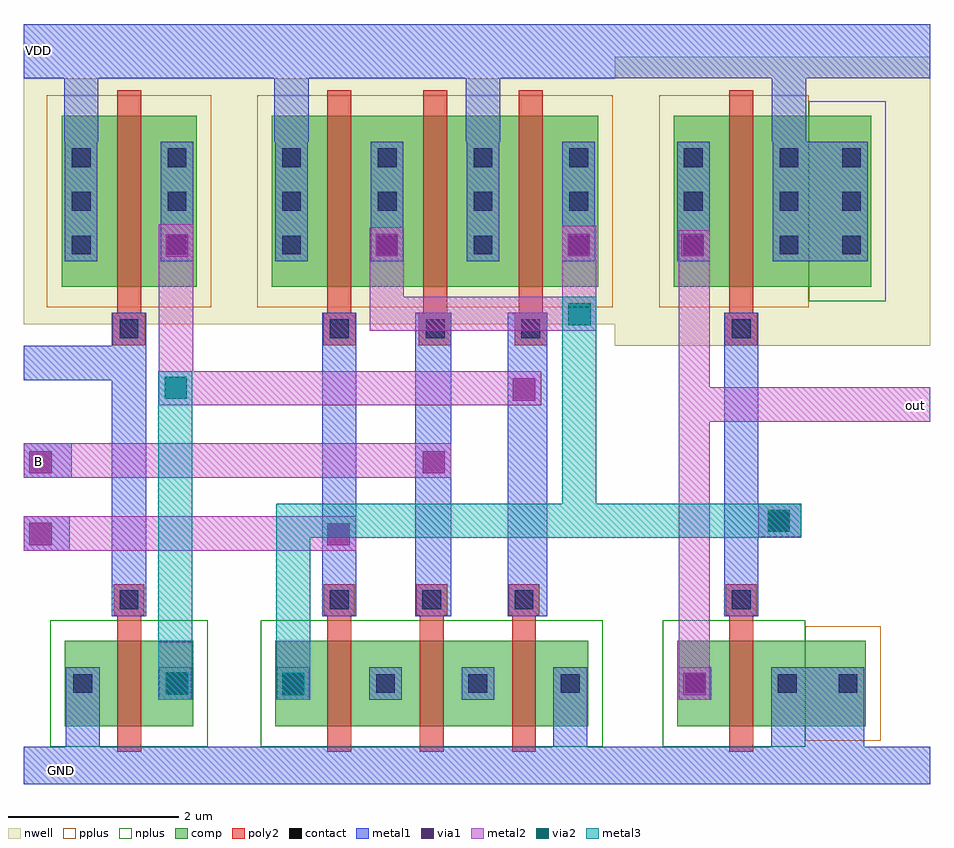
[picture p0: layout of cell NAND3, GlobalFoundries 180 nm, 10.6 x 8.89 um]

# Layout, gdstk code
import gdstk
lib = gdstk.Library(unit=1e-6, precision=5e-09)
def R(c, l, rs):  # rectangles x0, y0, x1, y1
    for r in rs: c.add(gdstk.rectangle(r[:2], r[2:], *l))
def A(c, l, x, y, w, h, nx, ny, dx, dy):  # array of equal rectangles
    R(c, l, [(x+i*dx, y+j*dy, x+i*dx+w, y+j*dy+h) for i in range(nx) for j in range(ny)])
nwell = (21, 0)
comp = (22, 0)
poly2 = (30, 0)
pplus = (31, 0)
nplus = (32, 0)
contact = (33, 0)
metal1 = (34, 0)
via1 = (35, 0)
metal2 = (36, 0)
via2 = (38, 0)
metal3 = (42, 0)

nfet = lib.new_cell('nfet')
R(nfet, comp, [(-0.42,0,0,1), (0,0,0.66,1), (0.66,0,1.08,1)])
R(nfet, poly2, [(0.19,-0.3,0.47,1.3), (0.15,1.3,0.51,1.66)])
R(nfet, nplus, [(-0.59,-0.24,1.25,1.24)])
R(nfet, contact, [(-0.32,0.39,-0.1,0.61), (0.76,0.39,0.98,0.61), (0.22,1.37,0.44,1.59)])
R(nfet, metal1, [(-0.4,0.31,-0.02,0.69), (0.68,0.31,1.06,0.69), (0.14,1.29,0.52,1.67)])

pfet_1 = lib.new_cell('pfet$1')
R(pfet_1, nwell, [(-0.9,-0.44,1.56,2.44)])
R(pfet_1, comp, [(-0.46,0,0,2), (0,0,0.66,2), (0.66,0,1.12,2)])
R(pfet_1, poly2, [(0.14,-0.68,0.52,-0.3), (0.19,-0.3,0.47,2.3)])
R(pfet_1, pplus, [(-0.63,-0.24,1.29,2.24)])
A(pfet_1, contact, -0.34, 0.38, 0.22, 0.22, 1, 3, 0, 0.51)
A(pfet_1, contact, 0.78, 0.38, 0.22, 0.22, 1, 3, 0, 0.51)
R(pfet_1, contact, [(0.22,-0.6,0.44,-0.38)])
R(pfet_1, metal1, [(0.14,-0.68,0.52,-0.3), (-0.42,0.3,-0.04,1.7), (0.7,0.3,1.08,1.7)])

pfet_2 = lib.new_cell('pfet$2')
R(pfet_2, nwell, [(-1.15,-0.69,2.54,2.69)])
R(pfet_2, comp, [(-0.46,0,0,2), (0,0,0.66,2), (0.66,0,1.12,2), (1.12,0,1.85,2)])
R(pfet_2, poly2, [(0.14,-0.68,0.52,-0.3), (0.19,-0.3,0.47,2.3)])
R(pfet_2, pplus, [(-0.63,-0.24,1.12,2.24)])
R(pfet_2, nplus, [(1.12,-0.17,2.02,2.17)])
A(pfet_2, contact, -0.34, 0.38, 0.22, 0.22, 1, 3, 0, 0.51)
A(pfet_2, contact, 0.78, 0.38, 0.22, 0.22, 1, 3, 0, 0.51)
A(pfet_2, contact, 1.51, 0.38, 0.22, 0.22, 1, 3, 0, 0.51)
R(pfet_2, contact, [(0.22,-0.6,0.44,-0.38)])
R(pfet_2, metal1, [(0.14,-0.68,0.52,-0.3), (-0.42,0.3,-0.04,1.7), (0.7,0.3,1.08,1.7), (1.43,0.3,1.81,1.7)])

nfet_2 = lib.new_cell('nfet$2')
R(nfet_2, comp, [(-0.42,0,0,1), (0,0,0.66,1), (0.66,0,1.08,1), (1.08,0,1.79,1)])
R(nfet_2, poly2, [(0.19,-0.3,0.47,1.3), (0.15,1.3,0.51,1.66)])
R(nfet_2, pplus, [(1.08,-0.17,1.96,1.17)])
R(nfet_2, nplus, [(-0.59,-0.24,1.08,1.24)])
R(nfet_2, contact, [(-0.32,0.39,-0.1,0.61), (0.76,0.39,0.98,0.61), (1.47,0.39,1.69,0.61), (0.22,1.37,0.44,1.59)])
R(nfet_2, metal1, [(-0.4,0.31,-0.02,0.69), (0.68,0.31,1.06,0.69), (1.39,0.31,1.77,0.69), (0.14,1.29,0.52,1.67)])

nand3 = lib.new_cell('NAND3')
R(nand3, metal1, [(-57.87,29.975,-57.56,30.41), (-57.56,29.975,-47.85,30.41), (-47.85,29.975,-47.27,30.41), (-49.13,30.215,-48.04,31.34), (-49.13,30.96,-48.04,31.34), (-53.29,31.94,-52.87,35.49), (-52.21,31.94,-51.75,35.49), (-49.11,36.09,-48,37.49), (-57.87,38.23,-47.27,38.865)])
R(nand3, via1, [(-54.85,31.015,-54.59,31.275), (-50.155,31.015,-49.895,31.275), (-56.21,31.02,-55.95,31.28), (-54.32,32.765,-54.06,33.025), (-57.805,32.77,-57.545,33.03), (-49.17,32.925,-48.91,33.185), (-57.805,33.61,-57.545,33.87), (-53.205,33.61,-52.945,33.87), (-52.15,34.46,-51.89,34.72), (-56.21,36.145,-55.95,36.405), (-53.755,36.15,-53.495,36.41), (-51.51,36.15,-51.25,36.41), (-50.18,36.15,-49.92,36.41)])
R(nand3, metal2, [(-50.21,30.96,-49.85,36.45), (-49.28,32.86,-48.78,33.255)])
R(nand3, via2, [(-54.85,31.015,-54.59,31.275), (-56.21,31.02,-55.95,31.28), (-49.17,32.925,-48.91,33.185), (-56.225,34.48,-55.965,34.74), (-51.5,35.34,-51.24,35.6)])
nand3.add(gdstk.FlexPath([(-56.64,31.94),(-56.64,35.49)], 0.4, ends="flush", simple_path=True, layer=34, datatype=0))  # metal1
nand3.add(gdstk.FlexPath([(-56.64,34.9),(-57.87,34.9)], 0.4, ends="flush", simple_path=True, layer=34, datatype=0))  # metal1
nand3.add(gdstk.FlexPath([(-57.2,37.49),(-57.2,38.23)], 0.4, ends="flush", simple_path=True, layer=34, datatype=0))  # metal1
nand3.add(gdstk.FlexPath([(-54.74,37.49),(-54.74,38.23)], 0.4, ends="flush", simple_path=True, layer=34, datatype=0))  # metal1
nand3.add(gdstk.FlexPath([(-52.5,37.49),(-52.5,38.23)], 0.4, ends="flush", simple_path=True, layer=34, datatype=0))  # metal1
nand3.add(gdstk.FlexPath([(-48.92,37.49),(-48.92,38.23)], 0.4, ends="flush", simple_path=True, layer=34, datatype=0))  # metal1
nand3.add(gdstk.FlexPath([(-54.18,35.49),(-54.18,31.94)], 0.4, ends="flush", simple_path=True, layer=34, datatype=0))  # metal1
nand3.add(gdstk.FlexPath([(-57.87,33.76),(-57.31,33.76)], 0.4, ends="flush", simple_path=True, layer=34, datatype=0))  # metal1
nand3.add(gdstk.FlexPath([(-57.87,32.905),(-57.335,32.905)], 0.4, ends="flush", simple_path=True, layer=34, datatype=0))  # metal1
nand3.add(gdstk.FlexPath([(-49.48,35.49),(-49.48,31.94)], 0.4, ends="flush", simple_path=True, layer=34, datatype=0))  # metal1
nand3.add(gdstk.FlexPath([(-49.48,33.055),(-48.78,33.055)], 0.4, ends="flush", simple_path=True, layer=34, datatype=0))  # metal1
nand3.add(gdstk.FlexPath([(-57.18,31.34),(-57.18,30.41)], 0.4, ends="flush", simple_path=True, layer=34, datatype=0))  # metal1
nand3.add(gdstk.FlexPath([(-51.48,31.34),(-51.48,30.41)], 0.4, ends="flush", simple_path=True, layer=34, datatype=0))  # metal1
nand3.add(gdstk.FlexPath([(-48.92,38.205),(-48.92,38.36)], 0.4, ends="flush", simple_path=True, layer=34, datatype=0))  # metal1
nand3.add(gdstk.FlexPath([(-56.09,36.52),(-56.09,34.405)], 0.4, ends="flush", simple_path=True, layer=36, datatype=0))  # metal2
nand3.add(gdstk.FlexPath([(-53.625,36.485),(-53.625,35.315)], 0.4, ends="flush", simple_path=True, layer=36, datatype=0))  # metal2
nand3.add(gdstk.FlexPath([(-51.82,34.605),(-56.29,34.605)], 0.4, ends="flush", simple_path=True, layer=36, datatype=0))  # metal2
nand3.add(gdstk.FlexPath([(-50.21,34.415),(-47.27,34.415)], 0.4, ends="flush", simple_path=True, layer=36, datatype=0))  # metal2
nand3.add(gdstk.FlexPath([(-51.175,35.475),(-53.825,35.475)], 0.4, ends="flush", simple_path=True, layer=36, datatype=0))  # metal2
nand3.add(gdstk.FlexPath([(-52.87,33.76),(-57.87,33.76)], 0.4, ends="flush", simple_path=True, layer=36, datatype=0))  # metal2
nand3.add(gdstk.FlexPath([(-53.98,32.905),(-57.87,32.905)], 0.4, ends="flush", simple_path=True, layer=36, datatype=0))  # metal2
nand3.add(gdstk.FlexPath([(-54.72,30.96),(-54.72,31.65)], 0.4, ends="flush", simple_path=True, layer=36, datatype=0))  # metal2
nand3.add(gdstk.FlexPath([(-56.1,30.96),(-56.1,31.64)], 0.4, ends="flush", simple_path=True, layer=36, datatype=0))  # metal2
nand3.add(gdstk.FlexPath([(-51.375,36.505),(-51.375,35.275)], 0.4, ends="flush", simple_path=True, layer=36, datatype=0))  # metal2
nand3.add(gdstk.FlexPath([(-51.375,35.675),(-51.375,33.055),(-54.92,33.055)], 0.4, ends="flush", simple_path=True, layer=42, datatype=0))  # metal3
nand3.add(gdstk.FlexPath([(-54.72,30.96),(-54.72,33.255)], 0.4, ends="flush", simple_path=True, layer=42, datatype=0))  # metal3
nand3.add(gdstk.FlexPath([(-56.1,30.96),(-56.1,34.805)], 0.4, ends="flush", simple_path=True, layer=42, datatype=0))  # metal3
nand3.add(gdstk.FlexPath([(-51.63,33.055),(-48.78,33.055)], 0.4, ends="flush", simple_path=True, layer=42, datatype=0))  # metal3
nand3.add(gdstk.Reference(nfet, (-56.97,30.65)))
nand3.add(gdstk.Reference(pfet_1, (-56.97,35.79)))
nand3.add(gdstk.Reference(pfet_1, (-54.51,35.79)))
nand3.add(gdstk.Reference(pfet_1, (-53.39,35.79)))
nand3.add(gdstk.Reference(pfet_1, (-52.27,35.79)))
nand3.add(gdstk.Reference(pfet_2, (-49.81,35.79)))
nand3.add(gdstk.Reference(nfet, (-54.51,30.65)))
nand3.add(gdstk.Reference(nfet, (-53.43,30.65)))
nand3.add(gdstk.Reference(nfet, (-52.35,30.65)))
nand3.add(gdstk.Reference(nfet_2, (-49.81,30.65)))
nand3.add(gdstk.Label('VDD', (-57.7,38.56), layer=34, texttype=10))
nand3.add(gdstk.Label('GND', (-57.43,30.135), layer=34, texttype=10))
nand3.add(gdstk.Label('B', (-57.7,33.745), layer=34, texttype=10))
nand3.add(gdstk.Label('out', (-47.435,34.405), layer=36, texttype=10))

lib.write_gds('NAND3.gds')
